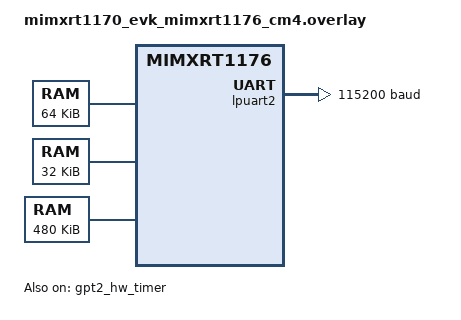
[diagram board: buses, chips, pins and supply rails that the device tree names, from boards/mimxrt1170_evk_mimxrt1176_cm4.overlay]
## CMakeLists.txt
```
# Copyright 2026 NXP
# SPDX-License-Identifier: Apache-2.0

cmake_minimum_required(VERSION 3.20.0)
find_package(Zephyr REQUIRED HINTS $ENV{ZEPHYR_BASE})
project(webrtc_remote)

target_sources(app PRIVATE src/main.c)

if(CONFIG_CODE_DATA_RELOCATION)
  # The heap the decoder takes its picture buffers from: the RAM of this core
  # is too small for it.
  zephyr_code_relocate(FILES ${ZEPHYR_BASE}/modules/h264swdec/zephyr_h264swdec.c
    LOCATION "${CONFIG_REMOTE_DECODER_RAM_NAME}_NOINIT" NOKEEP)
endif()

# The decoder is most of what this core does: the library is optimized for
# speed, which the rest of the image has no room for
target_compile_options(modules__h264swdec PRIVATE -O2)
```

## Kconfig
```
# Copyright 2026 NXP
# SPDX-License-Identifier: Apache-2.0

mainmenu "WebRTC sample, second core"

config REMOTE_DECODER_RAM_NAME
	string "Decoder memory location"
	depends on CODE_DATA_RELOCATION
	default "RAM"
	help
	  Memory region holding the heap of the decoder.

source "Kconfig.zephyr"
```

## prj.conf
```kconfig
# Copyright 2026 NXP
# SPDX-License-Identifier: Apache-2.0

CONFIG_PRINTK=y
CONFIG_LOG=y
CONFIG_LOG_MODE_MINIMAL=y
CONFIG_CBPRINTF_NANO=y
# The decoder runs in the thread that serves the calls
CONFIG_MAIN_STACK_SIZE=12288
CONFIG_HEAP_MEM_POOL_SIZE=8192

CONFIG_MPIPE=y
CONFIG_MPIPE_STRUCTURE_MAX_FIELDS=4
CONFIG_MPIPE_BASE=y
CONFIG_MPIPE_BASE_APP_SRC=y
CONFIG_MPIPE_BASE_APP_SINK=y
CONFIG_MPIPE_VID=y
CONFIG_MPIPE_VID_H264_DECODER=y
CONFIG_MPIPE_PIPELINE_SERVER=y
CONFIG_MPIPE_VID_PIPELINE_SERVER=y
CONFIG_MPIPE_ERPC_VID_SERVER=y
CONFIG_MPIPE_THREADS_NUM=1
CONFIG_MPIPE_THREAD_STACK_SIZE=1024
CONFIG_MPIPE_NET_BUF_POOL_COUNT=4

# Every buffer lives in the memory of the other core: the pools of this
# pipeline are never used, so they reserve next to nothing
CONFIG_MPIPE_BASE_APP_SRC_BUF_SZ=4
CONFIG_MPIPE_BASE_APP_SRC_POOL_NUM=1
CONFIG_MPIPE_VID_H264_DECODER_MAX_OUT_FRAME_SIZE=4
CONFIG_MPIPE_VID_H264_DECODER_POOL_NUM=1
CONFIG_VIDEO_BUFFER_POOL_NUM_MAX=1
CONFIG_VIDEO_BUFFER_POOL_HEAP_SIZE=1024

# The picture buffers of a 320x240 stream. The heap is larger than the RAM of
# this core, which would otherwise select the heap format for small heaps.
CONFIG_H264SWDEC_HEAP_SIZE=393216
CONFIG_SYS_HEAP_AUTO=y
CONFIG_H264SWDEC_MAX_FRAME_WIDTH=320
CONFIG_H264SWDEC_MAX_FRAME_HEIGHT=240
CONFIG_H264SWDEC_MAX_FRAME_SIZE=76800

CONFIG_ERPC=y
CONFIG_ERPC_TRANSPORT_IPC_SERVICE=y
CONFIG_ERPC_ALLOCATION_POLICY_STATIC=y
CONFIG_ERPC_CODEC_COUNT=2
CONFIG_ERPC_DEFAULT_BUFFER_SIZE=4096
CONFIG_MPIPE_ERPC_SERVER=y
CONFIG_MPIPE_ERPC_SERVERS_NUM=1
CONFIG_RL_API_HAS_ZEROCOPY=y
CONFIG_RL_USE_STATIC_API=y
# The image of this core is only started once the other core is up
CONFIG_IPC_SERVICE_BACKEND_RPMSG_LITE_LINK_UP_TIMEOUT_MS=60000

# The bus carries end-of-stream and errors, never data
CONFIG_ZBUS_PRIORITY_BOOST=n
CONFIG_ZBUS_LOG_LEVEL_ERR=y
```

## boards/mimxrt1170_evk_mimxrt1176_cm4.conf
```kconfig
# Copyright 2026 NXP
# SPDX-License-Identifier: Apache-2.0

CONFIG_BUILD_OUTPUT_INFO_HEADER=y
CONFIG_BUILD_OUTPUT_HEX=y
CONFIG_SECOND_CORE_MCUX=y

# The RAM of this core is half of its data TCM: the heap of the decoder goes
# to the on-chip RAM behind the buffers of the IPC
CONFIG_CODE_DATA_RELOCATION=y
CONFIG_REMOTE_DECODER_RAM_NAME="DECRAM"
```

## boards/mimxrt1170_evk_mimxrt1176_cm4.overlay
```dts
/*
 * Copyright 2026 NXP
 *
 * SPDX-License-Identifier: Apache-2.0
 */

#include <zephyr/dt-bindings/ipc_service/static_vrings.h>
#include <zephyr/dt-bindings/memory-attr/memory-attr-arm.h>

/ {
	aliases {
		/* The IPC instance eRPC runs over */
		erpc-ipc = &ipc0;
	};

	chosen {
		/*
		 * The M7 sees the two TCMs of the M4 as one block at 0x20200000,
		 * the ITCM then the DTCM, and loads the image there. The code
		 * takes the ITCM. The initial values of the data follow it, so
		 * they land in the lower half of the DTCM.
		 */
		zephyr,flash = &ocram;
		/* The upper half of the DTCM: the RAM must not overlap those values */
		zephyr,sram = &dtcm_hi;
		zephyr,console = &lpuart2;
		zephyr,shell-uart = &lpuart2;

		/* Delete ipc chosen property where old IPM mailbox driver below is
		 * configured.
		 */
		/delete-property/ zephyr,ipc;
		/delete-property/ zephyr,ipc_shm;
	};

	dtcm_hi: memory@20010000 {
		compatible = "mmio-sram";
		reg = <0x20010000 DT_SIZE_K(64)>;
	};

	/* Define memory regions for IPC
	 * Note that shared memory must have specific MPU attributes set.
	 */
	ocram2_ipc0: memory@202c0000 {
		compatible = "zephyr,memory-region", "mmio-sram";
		reg = <0x202c0000 DT_SIZE_K(32)>;
		zephyr,memory-region = "OCRAM2_IPC0";
		zephyr,memory-attr = <DT_MEM_ARM(ATTR_MPU_IO)>;
	};

	/* The rest of OCRAM2, behind the IPC: the heap of the decoder */
	ocram2_dec: memory@202c8000 {
		compatible = "zephyr,memory-region", "mmio-sram";
		reg = <0x202c8000 DT_SIZE_K(480)>;
		zephyr,memory-region = "DECRAM";
	};

	soc {
		/delete-node/ gpt@400f0000;

		/* Replace GPT2 with another GPT kernel timer */
		gpt2_hw_timer: gpt@400f0000 {
			compatible = "nxp,gpt-hw-timer";
			reg = <0x400f0000 0x4000>;
			interrupts = <120 0>;
			status = "okay";
		};

		/* Delete IPM Driver node nxp,imx-mu */
		/delete-node/ mailbox@40c4c000;

		/* Attach MBOX driver to MU Unit */
		mbox: mbox@40c4c000 {
			compatible = "nxp,mbox-imx-mu";
			reg = <0x40c4c000 0x4000>;
			interrupts = <118 0>;
			rx-channels = <4>;
			#mbox-cells = <1>;
			status = "okay";
		};
	};

	ipc {
		/delete-node/ ipc0;

		ipc0: ipc0 {
			compatible = "nxp,ipc-rpmsg-lite";
			memory-region = <&ocram2_ipc0>;
			mboxes = <&mbox 2>, <&mbox 3>;
			mbox-names = "rx", "tx";
			link-id = <0>;
			role = "remote";
			buffer-size = <512>;
			buffer-count = <4>;
			status = "okay";
		};
	};
};

/* Enable secondary LPUART */
&lpuart2 {
	status = "okay";
	current-speed = <115200>;
};

/* Disable primary GPT timer */
&gpt_hw_timer {
	status = "disabled";
};
```

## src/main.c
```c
/*
 * Copyright 2026 NXP
 *
 * SPDX-License-Identifier: Apache-2.0
 */

/*
 * The pipeline this core runs for the display leg of the other core, behind
 * the server its transform client talks to:
 *
 *   app_src -> vid_h264_decoder -> app_sink
 *
 * The other core gives a piece of the H.264 stream of the peer with every
 * call and gets the decoded frame back, in buffers of its own memory.
 */

#include <zephyr/kernel.h>
#include <zephyr/logging/log.h>
#include <zephyr/sys/util.h>

#include <zephyr/mpipe/mpipe.h>
#include <zephyr/mpipe/base/mpipe_app_sink.h>
#include <zephyr/mpipe/base/mpipe_app_src.h>
#include <zephyr/mpipe/erpc/mpipe_erpc_vid.h>
#include <zephyr/mpipe/utils/mpipe_pipeline_server.h>
#include <zephyr/mpipe/vid/mpipe_vid_h264_decoder.h>

LOG_MODULE_REGISTER(main, CONFIG_LOG_DEFAULT_LEVEL);

/* Element IDs (values are arbitrary; only uniqueness within the pipeline matters) */
enum {
	PIPE_ID,
	APP_SRC_ID,
	DECODER_ID,
	APP_SINK_ID,
};

/* IPC endpoint of the served pipeline: the client element uses the same name */
#define DECODER_ENDPOINT "webrtc_dec"

/* app_src -> vid_h264_decoder -> app_sink, served to the transform client */
static int build_decoding(struct mpipe_pipeline_server *server)
{
	static struct mpipe pipe;
	static struct mpipe_app_src app_src;
	static struct mpipe_vid_h264_decoder decoder;
	static struct mpipe_app_sink app_sink;
	int ret;

	ret = mpipe_pipeline_init(&pipe, PIPE_ID);
	if (ret == 0) {
		ret = mpipe_app_src_init(&app_src, APP_SRC_ID);
	}
	if (ret == 0) {
		ret = mpipe_vid_h264_decoder_init(&decoder, DECODER_ID);
	}
	if (ret == 0) {
		ret = mpipe_app_sink_init(&app_sink, APP_SINK_ID);
	}
	if (ret == 0) {
		ret = mpipe_bin_add((struct mpipe_bin *)&pipe, (struct mpipe_element *)&app_src,
				    (struct mpipe_element *)&decoder,
				    (struct mpipe_element *)&app_sink, NULL);
	}
	if (ret == 0) {
		ret = mpipe_element_link((struct mpipe_element *)&app_src,
					 (struct mpipe_element *)&decoder,
					 (struct mpipe_element *)&app_sink, NULL);
	}
	if (ret != 0) {
		return ret;
	}

	return mpipe_pipeline_server_init(server, &pipe, &app_src, &app_sink);
}

int main(void)
{
	static struct mpipe_pipeline_server server;
	static struct mpipe_pipeline_server *const servers[] = {&server};
	int ret;

	LOG_INF("Remote started");

	ret = build_decoding(&server);
	if (ret != 0) {
		LOG_ERR("Failed to build the decoding pipeline (%d)", ret);
		return 0;
	}

	ret = mpipe_erpc_vid_server_run(servers, ARRAY_SIZE(servers), DECODER_ENDPOINT);
	LOG_ERR("The server stopped (%d)", ret);

	return 0;
}
```
